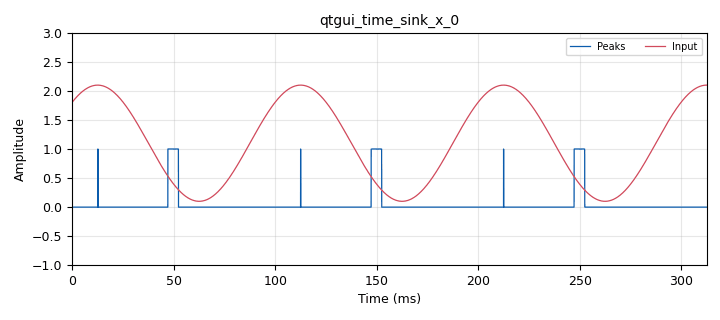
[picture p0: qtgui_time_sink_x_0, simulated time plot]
<?xml version='1.0' encoding='utf-8'?>
<?grc format='1' created='3.7.7'?>
<flow_graph>
<block>
<key>options</key>
<param><key>id</key><value>blocks_peak_detector</value></param>
<param><key>generate_options</key><value>qt_gui</value></param>
<param><key>category</key><value>Custom</value></param>
<param><key>run_options</key><value>run</value></param>
</block>
<block>
<key>variable</key>
<param><key>id</key><value>samp_rate</value></param>
<param><key>value</key><value>32000</value></param>
</block>
<block>
<key>analog_sig_source_x</key>
<param><key>id</key><value>analog_sig_source_x_0</value></param>
<param><key>type</key><value>float</value></param>
<param><key>samp_rate</key><value>samp_rate</value></param>
<param><key>waveform</key><value>analog.GR_COS_WAVE</value></param>
<param><key>freq</key><value>10</value></param>
<param><key>amp</key><value>1</value></param>
<param><key>offset</key><value>1.1</value></param>
</block>
<block>
<key>blocks_throttle</key>
<param><key>id</key><value>blocks_throttle_0</value></param>
<param><key>type</key><value>float</value></param>
<param><key>samples_per_second</key><value>samp_rate</value></param>
</block>
<block>
<key>blocks_char_to_float</key>
<param><key>id</key><value>blocks_char_to_float_0</value></param>
<param><key>scale</key><value>1</value></param>
</block>
<block>
<key>qtgui_time_sink_x</key>
<param><key>id</key><value>qtgui_time_sink_x_0</value></param>
<param><key>type</key><value>float</value></param>
<param><key>name</key><value></value></param>
<param><key>size</key><value>10000</value></param>
<param><key>srate</key><value>samp_rate</value></param>
<param><key>ymax</key><value>3</value></param>
<param><key>nconnections</key><value>2</value></param>
<param><key>label1</key><value>Peaks</value></param>
<param><key>color1</key><value>"blue"</value></param>
<param><key>label2</key><value>Input</value></param>
<param><key>color2</key><value>"red"</value></param>
</block>
<block>
<key>variable_qtgui_range</key>
<param><key>id</key><value>rise</value></param>
<param><key>label</key><value>Thresh Rise</value></param>
<param><key>value</key><value>0.250</value></param>
<param><key>start</key><value>0</value></param>
<param><key>stop</key><value>1</value></param>
<param><key>step</key><value>0.01</value></param>
<param><key>orient</key><value>Qt.Horizontal</value></param>
<param><key>gui_hint</key><value>0,0,1,1</value></param>
</block>
<block>
<key>variable_qtgui_range</key>
<param><key>id</key><value>fall</value></param>
<param><key>label</key><value>Thresh Fall</value></param>
<param><key>value</key><value>0.400</value></param>
<param><key>start</key><value>0</value></param>
<param><key>stop</key><value>1</value></param>
<param><key>step</key><value>0.01</value></param>
<param><key>orient</key><value>Qt.Horizontal</value></param>
<param><key>gui_hint</key><value>0,1,1,1</value></param>
</block>
<block>
<key>variable_qtgui_range</key>
<param><key>id</key><value>look_ahead</value></param>
<param><key>label</key><value>Look Ahead</value></param>
<param><key>value</key><value>10</value></param>
<param><key>start</key><value>0</value></param>
<param><key>stop</key><value>1000</value></param>
<param><key>step</key><value>1</value></param>
<param><key>orient</key><value>Qt.Horizontal</value></param>
<param><key>gui_hint</key><value>1,0,1,1</value></param>
</block>
<block>
<key>variable_qtgui_range</key>
<param><key>id</key><value>alpha</value></param>
<param><key>label</key><value>Alpha</value></param>
<param><key>value</key><value>0.001</value></param>
<param><key>start</key><value>0</value></param>
<param><key>stop</key><value>1</value></param>
<param><key>step</key><value>0.001</value></param>
<param><key>orient</key><value>Qt.Horizontal</value></param>
<param><key>gui_hint</key><value>1,1,1,1</value></param>
</block>
<block>
<key>blocks_peak_detector_xb</key>
<param><key>id</key><value>blocks_peak_detector_xb_0</value></param>
<param><key>type</key><value>float</value></param>
<param><key>threshold_factor_rise</key><value>rise</value></param>
<param><key>threshold_factor_fall</key><value>fall</value></param>
<param><key>look_ahead</key><value>int(look_ahead)</value></param>
<param><key>alpha</key><value>alpha</value></param>
</block>
<connection><source_block_id>blocks_char_to_float_0</source_block_id><sink_block_id>qtgui_time_sink_x_0</sink_block_id><source_key>0</source_key><sink_key>0</sink_key></connection>
<connection><source_block_id>blocks_throttle_0</source_block_id><sink_block_id>qtgui_time_sink_x_0</sink_block_id><source_key>0</source_key><sink_key>1</sink_key></connection>
<connection><source_block_id>analog_sig_source_x_0</source_block_id><sink_block_id>blocks_throttle_0</sink_block_id><source_key>0</source_key><sink_key>0</sink_key></connection>
<connection><source_block_id>blocks_throttle_0</source_block_id><sink_block_id>blocks_peak_detector_xb_0</sink_block_id><source_key>0</source_key><sink_key>0</sink_key></connection>
<connection><source_block_id>blocks_peak_detector_xb_0</source_block_id><sink_block_id>blocks_char_to_float_0</sink_block_id><source_key>0</source_key><sink_key>0</sink_key></connection>
</flow_graph>
